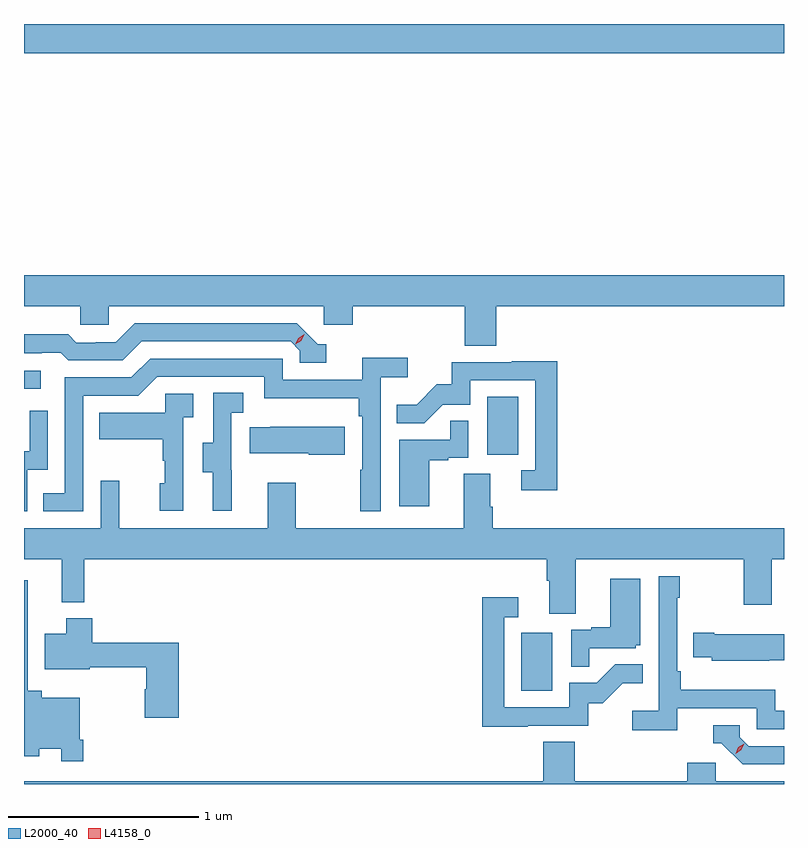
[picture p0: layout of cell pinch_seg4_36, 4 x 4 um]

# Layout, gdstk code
import gdstk
lib = gdstk.Library(unit=1e-6, precision=1e-09)
def R(c, l, rs):  # rectangles x0, y0, x1, y1
    for r in rs: c.add(gdstk.rectangle(r[:2], r[2:], *l))
def P(c, l, *ps):  # polygons
    for p in ps: c.add(gdstk.Polygon(p, *l))
L2000_40 = (2000, 40)
L4158_0 = (4158, 0)

pinch_seg4_36 = lib.new_cell('pinch_seg4_36')
R(pinch_seg4_36, L2000_40, [(1128.8,824.1,1128.964,824.407), (1128.62,825.342,1128.784,825.649), (1126.183,825.69,1126.27,825.786), (1126.183,827.456,1130.183,827.61)])
P(pinch_seg4_36, L2000_40, [(1128.668,826.124),(1130.183,826.124),(1130.183,826.288),(1126.183,826.288),(1126.183,826.124),(1126.479,826.124),(1126.479,826.026),(1126.629,826.026),(1126.629,826.124),(1127.76,826.124),(1127.76,826.026),(1127.912,826.026),(1127.912,826.124),(1128.503,826.124),(1128.503,825.916),(1128.668,825.916)],
  [(1127.773,825.924),(1127.73,825.924),(1127.619,826.035),(1126.766,826.035),(1126.667,825.936),(1126.56,825.936),(1126.56,825.933),(1126.457,825.933),(1126.415,825.976),(1126.183,825.976),(1126.183,825.876),(1126.277,825.876),(1126.277,825.879),(1126.376,825.879),(1126.415,825.84),(1126.704,825.84),(1126.803,825.939),(1127.586,825.939),(1127.634,825.891),(1127.634,825.828),(1127.773,825.828)],
  [(1126.494,825.654),(1126.785,825.654),(1126.884,825.753),(1127.448,825.753),(1127.448,825.641),(1127.944,825.641),(1127.944,825.545),(1127.964,825.545),(1127.964,825.263),(1127.952,825.263),(1127.952,825.045),(1128.06,825.045),(1128.06,825.752),(1128.202,825.752),(1128.202,825.854),(1127.963,825.854),(1127.963,825.738),(1127.544,825.738),(1127.544,825.849),(1126.847,825.849),(1126.748,825.75),(1126.398,825.75),(1126.398,825.141),(1126.285,825.141),(1126.285,825.045),(1126.494,825.045)],
  [(1128.989,825.836),(1128.751,825.836),(1128.751,825.831),(1128.433,825.831),(1128.433,825.714),(1128.356,825.714),(1128.249,825.607),(1128.145,825.607),(1128.145,825.508),(1128.289,825.508),(1128.387,825.606),(1128.531,825.606),(1128.531,825.735),(1128.873,825.735),(1128.873,825.261),(1128.801,825.261),(1128.801,825.156),(1128.989,825.156)],
  [(1127.276,825.261),(1127.274,825.261),(1127.274,825.565),(1127.338,825.565),(1127.338,825.668),(1127.178,825.668),(1127.178,825.405),(1127.123,825.405),(1127.123,825.25),(1127.177,825.25),(1127.177,825.048),(1127.276,825.048)],
  [(1127.022,825.539),(1127.074,825.539),(1127.074,825.663),(1126.926,825.663),(1126.926,825.565),(1126.579,825.565),(1126.579,825.425),(1126.914,825.425),(1126.914,825.311),(1126.924,825.311),(1126.924,825.192),(1126.898,825.192),(1126.898,825.048),(1127.022,825.048)],
  [(1126.2,825.264),(1126.308,825.264),(1126.308,825.574),(1126.212,825.574),(1126.212,825.362),(1126.183,825.362),(1126.183,825.045),(1126.2,825.045)],
  [(1128.316,825.315),(1128.416,825.315),(1128.416,825.327),(1128.522,825.327),(1128.522,825.521),(1128.427,825.521),(1128.427,825.423),(1128.158,825.423),(1128.158,825.072),(1128.316,825.072)],
  [(1127.872,825.49),(1127.479,825.49),(1127.479,825.487),(1127.371,825.487),(1127.371,825.35),(1127.681,825.35),(1127.681,825.343),(1127.872,825.343)],
  [(1129.087,824.792),(1129.972,824.792),(1129.972,824.553),(1130.119,824.553),(1130.119,824.792),(1130.183,824.792),(1130.183,824.956),(1128.65,824.956),(1128.65,825.068),(1128.637,825.068),(1128.637,825.242),(1128.497,825.242),(1128.497,824.956),(1127.613,824.956),(1127.613,825.196),(1127.465,825.196),(1127.465,824.956),(1126.685,824.956),(1126.685,825.205),(1126.587,825.205),(1126.587,824.956),(1126.183,824.956),(1126.183,824.792),(1126.382,824.792),(1126.382,824.567),(1126.499,824.567),(1126.499,824.792),(1128.935,824.792),(1128.935,824.68),(1128.947,824.68),(1128.947,824.506),(1129.087,824.506)],
  [(1129.622,824.01),(1130.04,824.01),(1130.04,823.899),(1130.183,823.899),(1130.183,823.995),(1130.136,823.995),(1130.136,824.107),(1129.64,824.107),(1129.64,824.203),(1129.62,824.203),(1129.62,824.591),(1129.633,824.591),(1129.633,824.704),(1129.524,824.704),(1129.524,823.996),(1129.383,823.996),(1129.383,823.894),(1129.622,823.894)],
  [(1129.157,824.325),(1129.404,824.325),(1129.404,824.34),(1129.426,824.34),(1129.426,824.689),(1129.268,824.689),(1129.268,824.434),(1129.169,824.434),(1129.169,824.421),(1129.062,824.421),(1129.062,824.227),(1129.157,824.227)],
  [(1126.496,823.843),(1126.476,823.843),(1126.476,824.065),(1126.277,824.065),(1126.277,824.101),(1126.203,824.101),(1126.203,824.683),(1126.183,824.683),(1126.183,823.757),(1126.264,823.757),(1126.264,823.796),(1126.38,823.796),(1126.38,823.731),(1126.496,823.731)],
  [(1128.833,823.917),(1129.152,823.917),(1129.152,824.034),(1129.228,824.034),(1129.335,824.141),(1129.439,824.141),(1129.439,824.24),(1129.295,824.24),(1129.197,824.142),(1129.053,824.142),(1129.053,824.013),(1128.711,824.013),(1128.711,824.487),(1128.784,824.487),(1128.784,824.593),(1128.595,824.593),(1128.595,823.912),(1128.833,823.912)],
  [(1126.997,824.353),(1126.541,824.353),(1126.541,824.482),(1126.406,824.482),(1126.406,824.401),(1126.292,824.401),(1126.292,824.213),(1126.528,824.213),(1126.528,824.224),(1126.826,824.224),(1126.826,824.109),(1126.819,824.109),(1126.819,823.959),(1126.997,823.959)],
  [(1130.105,824.261),(1130.183,824.261),(1130.183,824.398),(1129.816,824.398),(1129.816,824.406),(1129.705,824.406),(1129.705,824.276),(1129.803,824.276),(1129.803,824.258),(1130.105,824.258)],
  [(1130.183,823.809),(1129.998,823.809),(1129.95,823.857),(1129.95,823.92),(1129.811,823.92),(1129.811,823.824),(1129.854,823.824),(1129.965,823.713),(1130.183,823.713)],
  [(1130.183,823.624),(1129.824,823.624),(1129.824,823.722),(1129.673,823.722),(1129.673,823.624),(1129.082,823.624),(1129.082,823.832),(1128.917,823.832),(1128.917,823.624),(1126.183,823.624),(1126.183,823.61),(1130.183,823.61)])
P(pinch_seg4_36, L4158_0, [(1129.928,823.77),(1129.928,823.77),(1129.943,823.803),(1129.974,823.823),(1129.974,823.823),(1129.974,823.823),(1129.959,823.79),(1129.928,823.77)],
  [(1127.611,825.924),(1127.611,825.924),(1127.627,825.957),(1127.657,825.977),(1127.657,825.977),(1127.657,825.977),(1127.642,825.944),(1127.611,825.924)])

lib.write_gds('pinch_seg4_36.gds')
